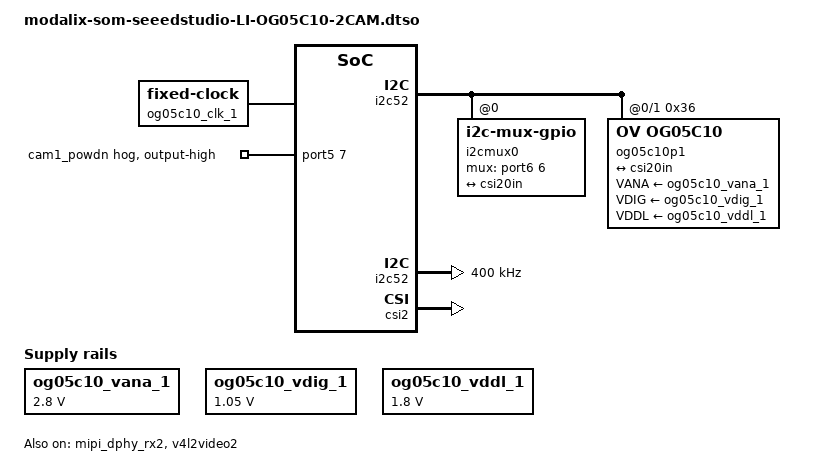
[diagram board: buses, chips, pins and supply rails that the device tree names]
// SPDX-License-Identifier: (GPL-2.0+ OR MIT)
/*
 * Copyright (c) 2026 SiMa ai
 */

/dts-v1/;
/plugin/;

&{/} {
    og05c10_vana_1: csi2_fixedregulator@0 {
        compatible = "regulator-fixed";
        regulator-name = "og05c10_vana_1";
        regulator-min-microvolt = <2800000>;
        regulator-max-microvolt = <2800000>;
        enable-active-high;
        startup-delay-us = <300000>;
        regulator-always-on;
    };

    og05c10_vdig_1: csi2_fixedregulator@1 {
        compatible = "regulator-fixed";
        regulator-name = "og05c10_vdig_1";
        regulator-min-microvolt = <1050000>;
        regulator-max-microvolt = <1050000>;
        regulator-always-on;
    };

    og05c10_vddl_1: csi2_fixedregulator@2 {
        compatible = "regulator-fixed";
        regulator-name = "og05c10_vddl_1";
        regulator-min-microvolt = <1800000>;
        regulator-max-microvolt = <1800000>;
        regulator-always-on;
    };

    og05c10_clk_1: csi2_camera-clk {
        compatible = "fixed-clock";
        #clock-cells = <0>;
        clock-frequency = <24000000>;
    };

    i2cmux0: i2cmux@0 {
        compatible = "i2c-mux-gpio";
        i2c-parent = <&i2c52>;
        #address-cells = <1>;
        #size-cells = <0>;
        /* Set port6 gpio6 to GPIO_ACTIVE_LOW mode */
        mux-gpios = <&port6 6 0>;

        i2cmux0p1: i2c@1 {
            reg = <1>;
            #address-cells = <1>;
            #size-cells = <0>;
        };
    };
};

&port5 {
        cam-hog1 {
                gpio-hog;
                /* Set port5 gpio7 to GPIO_ACTIVE_HIGH mode */
                gpios = <7 0>;
                output-high;
                line-name = "cam1_powdn";
        };
};

&i2c52 {
    status = "okay";
    clock-frequency = <400000>;
    #address-cells = <1>;
    #size-cells = <0>;
};

&csi2 {
    status = "okay";
};

&axi_vdma2 {
    status = "okay";
};

&mipi_dphy_rx2 {
    status = "okay";
};

&v4l2video2 {
    status = "okay";
};

&v4l2vdma2 {
    status = "okay";
};

&csi20in {
    clock-lanes = <0>;
    data-lanes = <1 2>;
    link-frequencies = /bits/ 64 <424000000>;
    remote-endpoint = <&cam20out>;
    clock-continuous;
};

&i2cmux0p1 {
        og05c10p1: og05c10@36 {
                compatible = "OV,og05c10";
                reg = <0x36>;

                clocks = <&og05c10_clk_1>;
                clock-names = "xclk";

                VANA-supply = <&og05c10_vana_1>;
                VDIG-supply = <&og05c10_vdig_1>;
                VDDL-supply = <&og05c10_vddl_1>;

                port@1 {
                        cam20out: endpoint@0 {
                                clock-lanes = <0>;
                                data-lanes = <1 2>;
                                link-frequencies = /bits/ 64 <424000000>;
                                remote-endpoint = <&csi20in>;
                                clock-continuous;
                        };
                };
        };
};
